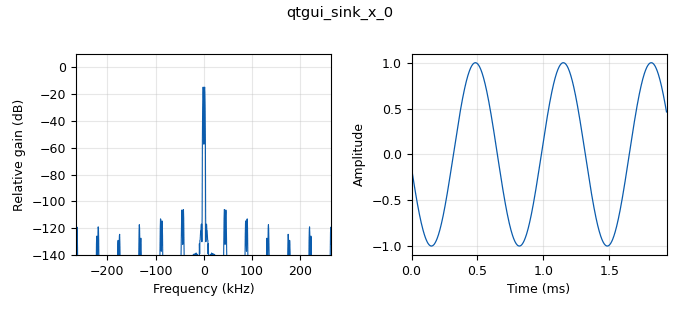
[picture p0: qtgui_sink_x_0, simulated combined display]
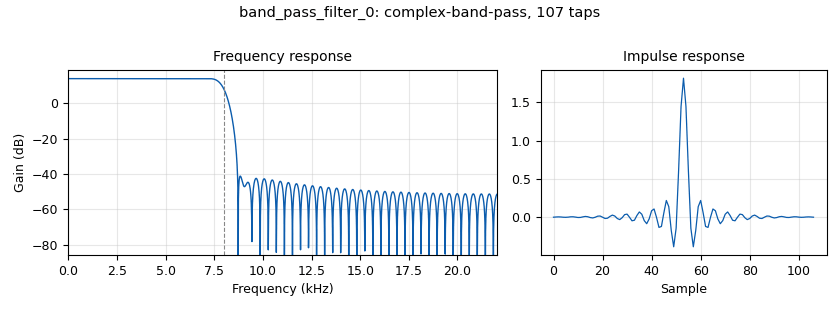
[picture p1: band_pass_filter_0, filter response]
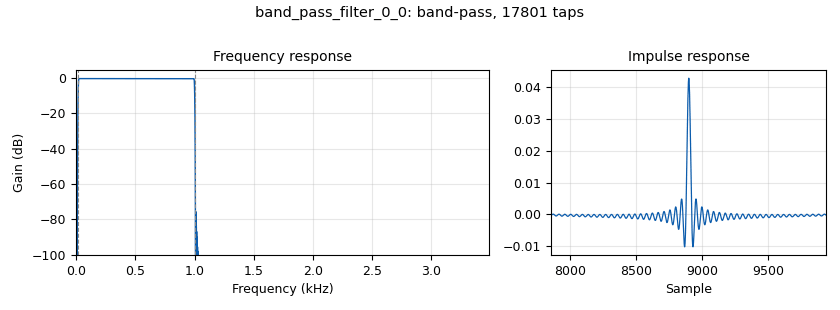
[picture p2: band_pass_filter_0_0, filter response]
<?xml version='1.0' encoding='utf-8'?>
<?grc format='1' created='3.7.11'?>
<flow_graph>
<block>
<key>options</key>
<param><key>id</key><value>top_block</value></param>
<param><key>category</key><value>Custom</value></param>
<param><key>generate_options</key><value>qt_gui</value></param>
<param><key>run_options</key><value>run</value></param>
</block>
<block>
<key>variable_qtgui_range</key>
<param><key>id</key><value>N0</value></param>
<param><key>value</key><value>.005</value></param>
<param><key>_enabled</key><value>0</value></param>
<param><key>label</key><value>Noise Voltage</value></param>
<param><key>orient</key><value>Qt.Horizontal</value></param>
<param><key>start</key><value>0</value></param>
<param><key>step</key><value>.001</value></param>
<param><key>stop</key><value>5</value></param>
</block>
<block>
<key>variable_qtgui_chooser</key>
<param><key>id</key><value>fileName</value></param>
<param><key>value</key><value>/dev/null</value></param>
<param><key>_enabled</key><value>0</value></param>
<param><key>label0</key><value>Stop Recording</value></param>
<param><key>label1</key><value>Recoding</value></param>
<param><key>label</key><value>Record</value></param>
<param><key>num_opts</key><value>2</value></param>
<param><key>option0</key><value>/dev/null</value></param>
<param><key>option1</key><value>/home/sam/Documents/GNU_RADIO/graphs/audioTest2.wav</value></param>
<param><key>orient</key><value>Qt.QHBoxLayout</value></param>
<param><key>type</key><value>string</value></param>
<param><key>widget</key><value>radio_buttons</value></param>
</block>
<block>
<key>variable_qtgui_range</key>
<param><key>id</key><value>freq</value></param>
<param><key>value</key><value>1.5e3</value></param>
<param><key>label</key><value>Frequency</value></param>
<param><key>orient</key><value>Qt.Horizontal</value></param>
<param><key>start</key><value>0</value></param>
<param><key>step</key><value>500</value></param>
<param><key>stop</key><value>15e3</value></param>
</block>
<block>
<key>variable_qtgui_range</key>
<param><key>id</key><value>gain</value></param>
<param><key>value</key><value>.08</value></param>
<param><key>_enabled</key><value>0</value></param>
<param><key>label</key><value>LPF Gain</value></param>
<param><key>orient</key><value>Qt.Horizontal</value></param>
<param><key>start</key><value>0</value></param>
<param><key>step</key><value>.001</value></param>
<param><key>stop</key><value>.15</value></param>
</block>
<block>
<key>variable</key>
<param><key>id</key><value>samp_rate</value></param>
<param><key>value</key><value>44100</value></param>
</block>
<block>
<key>analog_sig_source_x</key>
<param><key>id</key><value>analog_sig_source_x_0</value></param>
<param><key>amp</key><value>1</value></param>
<param><key>freq</key><value>freq</value></param>
<param><key>offset</key><value>0</value></param>
<param><key>type</key><value>complex</value></param>
<param><key>samp_rate</key><value>44100</value></param>
<param><key>waveform</key><value>analog.GR_COS_WAVE</value></param>
</block>
<block>
<key>audio_source</key>
<param><key>id</key><value>audio_source_0</value></param>
<param><key>device_name</key><value>pulse_monitor</value></param>
<param><key>_enabled</key><value>0</value></param>
<param><key>num_outputs</key><value>2</value></param>
<param><key>samp_rate</key><value>44100</value></param>
</block>
<block>
<key>band_pass_filter</key>
<param><key>id</key><value>band_pass_filter_0</value></param>
<param><key>decim</key><value>1</value></param>
<param><key>type</key><value>fir_filter_ccc</value></param>
<param><key>gain</key><value>5</value></param>
<param><key>high_cutoff_freq</key><value>8000</value></param>
<param><key>low_cutoff_freq</key><value>-8000</value></param>
<param><key>samp_rate</key><value>samp_rate</value></param>
<param><key>width</key><value>1000</value></param>
<param><key>win</key><value>firdes.WIN_HAMMING</value></param>
</block>
<block>
<key>band_pass_filter</key>
<param><key>id</key><value>band_pass_filter_0_0</value></param>
<param><key>decim</key><value>12</value></param>
<param><key>type</key><value>fir_filter_fff</value></param>
<param><key>gain</key><value>.08*12</value></param>
<param><key>high_cutoff_freq</key><value>12000/12.</value></param>
<param><key>low_cutoff_freq</key><value>200/12.</value></param>
<param><key>samp_rate</key><value>samp_rate</value></param>
<param><key>width</key><value>100/12.</value></param>
<param><key>win</key><value>firdes.WIN_BLACKMAN</value></param>
</block>
<block>
<key>band_pass_filter</key>
<param><key>id</key><value>band_pass_filter_0_0_0</value></param>
<param><key>decim</key><value>12</value></param>
<param><key>type</key><value>fir_filter_fff</value></param>
<param><key>gain</key><value>.08*12</value></param>
<param><key>high_cutoff_freq</key><value>12000/12.</value></param>
<param><key>low_cutoff_freq</key><value>200/12.</value></param>
<param><key>samp_rate</key><value>samp_rate</value></param>
<param><key>width</key><value>100/12.</value></param>
<param><key>win</key><value>firdes.WIN_BLACKMAN</value></param>
</block>
<block>
<key>blocks_char_to_short</key>
<param><key>id</key><value>blocks_char_to_short_0</value></param>
</block>
<block>
<key>blocks_char_to_short</key>
<param><key>id</key><value>blocks_char_to_short_0_0</value></param>
</block>
<block>
<key>blocks_complex_to_float</key>
<param><key>id</key><value>blocks_complex_to_float_0</value></param>
</block>
<block>
<key>blocks_deinterleave</key>
<param><key>id</key><value>blocks_deinterleave_0</value></param>
<param><key>type</key><value>byte</value></param>
</block>
<block>
<key>blocks_float_to_short</key>
<param><key>id</key><value>blocks_float_to_short_0_0</value></param>
<param><key>scale</key><value>2**15 - 1</value></param>
</block>
<block>
<key>blocks_float_to_short</key>
<param><key>id</key><value>blocks_float_to_short_0_0_0</value></param>
<param><key>scale</key><value>2**15 - 1</value></param>
</block>
<block>
<key>blocks_interleave</key>
<param><key>id</key><value>blocks_interleave_0</value></param>
<param><key>type</key><value>byte</value></param>
</block>
<block>
<key>blocks_pack_k_bits_bb</key>
<param><key>id</key><value>blocks_pack_k_bits_bb_0</value></param>
<param><key>k</key><value>8</value></param>
</block>
<block>
<key>blocks_short_to_char</key>
<param><key>id</key><value>blocks_short_to_char_0_0</value></param>
</block>
<block>
<key>blocks_short_to_char</key>
<param><key>id</key><value>blocks_short_to_char_0_0_0</value></param>
</block>
<block>
<key>blocks_short_to_float</key>
<param><key>id</key><value>blocks_short_to_float_0</value></param>
<param><key>scale</key><value>2**15 -1</value></param>
</block>
<block>
<key>blocks_short_to_float</key>
<param><key>id</key><value>blocks_short_to_float_0_0</value></param>
<param><key>scale</key><value>2**15 -1</value></param>
</block>
<block>
<key>blocks_throttle</key>
<param><key>id</key><value>blocks_throttle_0</value></param>
<param><key>samples_per_second</key><value>samp_rate</value></param>
<param><key>type</key><value>complex</value></param>
</block>
<block>
<key>blocks_wavfile_sink</key>
<param><key>id</key><value>blocks_wavfile_sink_0</value></param>
<param><key>bits_per_sample</key><value>8</value></param>
<param><key>file</key><value>/home/sam/Documents/GNU_RADIO/graphs/audioTest2.wav</value></param>
<param><key>nchan</key><value>2</value></param>
<param><key>samp_rate</key><value>44100</value></param>
</block>
<block>
<key>blocks_wavfile_source</key>
<param><key>id</key><value>blocks_wavfile_source_0</value></param>
<param><key>_enabled</key><value>0</value></param>
<param><key>file</key><value>/home/harrison/Desktop/refactor_rev1.wav</value></param>
<param><key>nchan</key><value>2</value></param>
<param><key>repeat</key><value>False</value></param>
</block>
<block>
<key>digital_dxpsk_demod</key>
<param><key>id</key><value>digital_dxpsk_demod_0</value></param>
<param><key>excess_bw</key><value>0.35</value></param>
<param><key>freq_bw</key><value>6.28/100.0</value></param>
<param><key>mod_code</key><value>"gray"</value></param>
<param><key>log</key><value>False</value></param>
<param><key>phase_bw</key><value>6.28/100.0</value></param>
<param><key>samples_per_symbol</key><value>4</value></param>
<param><key>sync_out</key><value>False</value></param>
<param><key>timing_bw</key><value>6.28/100.0</value></param>
<param><key>type</key><value>dqpsk</value></param>
<param><key>verbose</key><value>False</value></param>
</block>
<block>
<key>digital_dxpsk_mod</key>
<param><key>id</key><value>digital_dxpsk_mod_0_0</value></param>
<param><key>excess_bw</key><value>0.35</value></param>
<param><key>mod_code</key><value>"gray"</value></param>
<param><key>log</key><value>False</value></param>
<param><key>samples_per_symbol</key><value>4</value></param>
<param><key>type</key><value>dqpsk</value></param>
<param><key>verbose</key><value>False</value></param>
</block>
<block>
<key>qtgui_freq_sink_x</key>
<param><key>id</key><value>qtgui_freq_sink_x_0</value></param>
<param><key>bw</key><value>samp_rate</value></param>
<param><key>fc</key><value>0</value></param>
<param><key>_enabled</key><value>0</value></param>
<param><key>fftsize</key><value>1024</value></param>
<param><key>grid</key><value>True</value></param>
<param><key>label2</key><value></value></param>
<param><key>nconnections</key><value>2</value></param>
<param><key>showports</key><value>True</value></param>
<param><key>type</key><value>float</value></param>
<param><key>wintype</key><value>firdes.WIN_BLACKMAN_hARRIS</value></param>
</block>
<block>
<key>qtgui_sink_x</key>
<param><key>id</key><value>qtgui_sink_x_0</value></param>
<param><key>bw</key><value>samp_rate*12</value></param>
<param><key>fc</key><value>0</value></param>
<param><key>freqchangevar</key><value>None</value></param>
<param><key>fftsize</key><value>1024</value></param>
<param><key>showports</key><value>True</value></param>
<param><key>type</key><value>float</value></param>
<param><key>wintype</key><value>firdes.WIN_BLACKMAN_hARRIS</value></param>
</block>
<block>
<key>qtgui_time_sink_x</key>
<param><key>id</key><value>qtgui_time_sink_x_0</value></param>
<param><key>autoscale</key><value>True</value></param>
<param><key>_enabled</key><value>0</value></param>
<param><key>grid</key><value>True</value></param>
<param><key>color1</key><value>"blue"</value></param>
<param><key>label1</key><value></value></param>
<param><key>color2</key><value>"red"</value></param>
<param><key>label2</key><value></value></param>
<param><key>color3</key><value>"green"</value></param>
<param><key>label3</key><value></value></param>
<param><key>color4</key><value>"black"</value></param>
<param><key>label4</key><value></value></param>
<param><key>nconnections</key><value>4</value></param>
<param><key>size</key><value>1024</value></param>
<param><key>srate</key><value>samp_rate</value></param>
<param><key>type</key><value>float</value></param>
</block>
<block>
<key>rational_resampler_xxx</key>
<param><key>id</key><value>rational_resampler_xxx_0_0</value></param>
<param><key>decim</key><value>10</value></param>
<param><key>interp</key><value>120</value></param>
<param><key>taps</key><value></value></param>
<param><key>type</key><value>fff</value></param>
</block>
<block>
<key>rational_resampler_xxx</key>
<param><key>id</key><value>rational_resampler_xxx_0_0_0</value></param>
<param><key>decim</key><value>10</value></param>
<param><key>interp</key><value>120</value></param>
<param><key>taps</key><value></value></param>
<param><key>type</key><value>fff</value></param>
</block>
<connection><source_block_id>analog_sig_source_x_0</source_block_id><sink_block_id>blocks_throttle_0</sink_block_id><source_key>0</source_key><sink_key>0</sink_key></connection>
<connection><source_block_id>audio_source_0</source_block_id><sink_block_id>rational_resampler_xxx_0_0</sink_block_id><source_key>0</source_key><sink_key>0</sink_key></connection>
<connection><source_block_id>audio_source_0</source_block_id><sink_block_id>rational_resampler_xxx_0_0_0</sink_block_id><source_key>1</source_key><sink_key>0</sink_key></connection>
<connection><source_block_id>band_pass_filter_0</source_block_id><sink_block_id>digital_dxpsk_demod_0</sink_block_id><source_key>0</source_key><sink_key>0</sink_key></connection>
<connection><source_block_id>band_pass_filter_0_0</source_block_id><sink_block_id>blocks_wavfile_sink_0</sink_block_id><source_key>0</source_key><sink_key>0</sink_key></connection>
<connection><source_block_id>band_pass_filter_0_0</source_block_id><sink_block_id>qtgui_freq_sink_x_0</sink_block_id><source_key>0</source_key><sink_key>0</sink_key></connection>
<connection><source_block_id>band_pass_filter_0_0</source_block_id><sink_block_id>qtgui_time_sink_x_0</sink_block_id><source_key>0</source_key><sink_key>0</sink_key></connection>
<connection><source_block_id>band_pass_filter_0_0_0</source_block_id><sink_block_id>blocks_wavfile_sink_0</sink_block_id><source_key>0</source_key><sink_key>1</sink_key></connection>
<connection><source_block_id>band_pass_filter_0_0_0</source_block_id><sink_block_id>qtgui_freq_sink_x_0</sink_block_id><source_key>0</source_key><sink_key>1</sink_key></connection>
<connection><source_block_id>band_pass_filter_0_0_0</source_block_id><sink_block_id>qtgui_time_sink_x_0</sink_block_id><source_key>0</source_key><sink_key>1</sink_key></connection>
<connection><source_block_id>blocks_char_to_short_0</source_block_id><sink_block_id>blocks_short_to_float_0</sink_block_id><source_key>0</source_key><sink_key>0</sink_key></connection>
<connection><source_block_id>blocks_char_to_short_0_0</source_block_id><sink_block_id>blocks_short_to_float_0_0</sink_block_id><source_key>0</source_key><sink_key>0</sink_key></connection>
<connection><source_block_id>blocks_complex_to_float_0</source_block_id><sink_block_id>qtgui_time_sink_x_0</sink_block_id><source_key>1</source_key><sink_key>3</sink_key></connection>
<connection><source_block_id>blocks_complex_to_float_0</source_block_id><sink_block_id>rational_resampler_xxx_0_0_0</sink_block_id><source_key>1</source_key><sink_key>0</sink_key></connection>
<connection><source_block_id>blocks_complex_to_float_0</source_block_id><sink_block_id>qtgui_time_sink_x_0</sink_block_id><source_key>0</source_key><sink_key>2</sink_key></connection>
<connection><source_block_id>blocks_complex_to_float_0</source_block_id><sink_block_id>rational_resampler_xxx_0_0</sink_block_id><source_key>0</source_key><sink_key>0</sink_key></connection>
<connection><source_block_id>blocks_deinterleave_0</source_block_id><sink_block_id>blocks_char_to_short_0</sink_block_id><source_key>0</source_key><sink_key>0</sink_key></connection>
<connection><source_block_id>blocks_deinterleave_0</source_block_id><sink_block_id>blocks_char_to_short_0_0</sink_block_id><source_key>1</source_key><sink_key>0</sink_key></connection>
<connection><source_block_id>blocks_float_to_short_0_0</source_block_id><sink_block_id>blocks_short_to_char_0_0</sink_block_id><source_key>0</source_key><sink_key>0</sink_key></connection>
<connection><source_block_id>blocks_float_to_short_0_0_0</source_block_id><sink_block_id>blocks_short_to_char_0_0_0</sink_block_id><source_key>0</source_key><sink_key>0</sink_key></connection>
<connection><source_block_id>blocks_interleave_0</source_block_id><sink_block_id>digital_dxpsk_mod_0_0</sink_block_id><source_key>0</source_key><sink_key>0</sink_key></connection>
<connection><source_block_id>blocks_pack_k_bits_bb_0</source_block_id><sink_block_id>blocks_deinterleave_0</sink_block_id><source_key>0</source_key><sink_key>0</sink_key></connection>
<connection><source_block_id>blocks_short_to_char_0_0</source_block_id><sink_block_id>blocks_interleave_0</sink_block_id><source_key>0</source_key><sink_key>0</sink_key></connection>
<connection><source_block_id>blocks_short_to_char_0_0_0</source_block_id><sink_block_id>blocks_interleave_0</sink_block_id><source_key>0</source_key><sink_key>1</sink_key></connection>
<connection><source_block_id>blocks_short_to_float_0</source_block_id><sink_block_id>band_pass_filter_0_0</sink_block_id><source_key>0</source_key><sink_key>0</sink_key></connection>
<connection><source_block_id>blocks_short_to_float_0_0</source_block_id><sink_block_id>band_pass_filter_0_0_0</sink_block_id><source_key>0</source_key><sink_key>0</sink_key></connection>
<connection><source_block_id>blocks_throttle_0</source_block_id><sink_block_id>blocks_complex_to_float_0</sink_block_id><source_key>0</source_key><sink_key>0</sink_key></connection>
<connection><source_block_id>blocks_wavfile_source_0</source_block_id><sink_block_id>rational_resampler_xxx_0_0</sink_block_id><source_key>0</source_key><sink_key>0</sink_key></connection>
<connection><source_block_id>blocks_wavfile_source_0</source_block_id><sink_block_id>rational_resampler_xxx_0_0_0</sink_block_id><source_key>1</source_key><sink_key>0</sink_key></connection>
<connection><source_block_id>digital_dxpsk_demod_0</source_block_id><sink_block_id>blocks_pack_k_bits_bb_0</sink_block_id><source_key>0</source_key><sink_key>0</sink_key></connection>
<connection><source_block_id>digital_dxpsk_mod_0_0</source_block_id><sink_block_id>band_pass_filter_0</sink_block_id><source_key>0</source_key><sink_key>0</sink_key></connection>
<connection><source_block_id>rational_resampler_xxx_0_0</source_block_id><sink_block_id>blocks_float_to_short_0_0</sink_block_id><source_key>0</source_key><sink_key>0</sink_key></connection>
<connection><source_block_id>rational_resampler_xxx_0_0_0</source_block_id><sink_block_id>blocks_float_to_short_0_0_0</sink_block_id><source_key>0</source_key><sink_key>0</sink_key></connection>
<connection><source_block_id>rational_resampler_xxx_0_0_0</source_block_id><sink_block_id>qtgui_sink_x_0</sink_block_id><source_key>0</source_key><sink_key>0</sink_key></connection>
</flow_graph>
